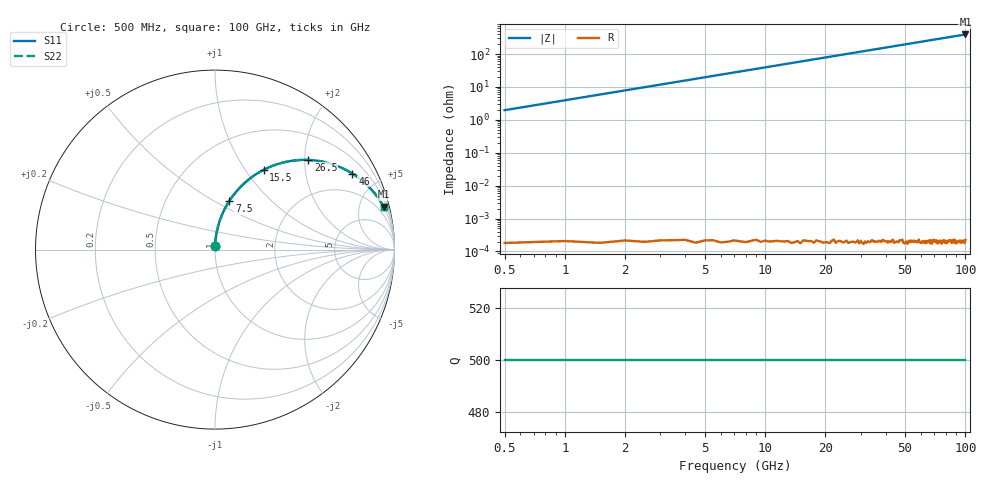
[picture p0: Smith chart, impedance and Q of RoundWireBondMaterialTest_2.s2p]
! File created by SignalIntegrity v1.4.3: Signal and Power Integrity Tools
! https://github.com/Nubis-Communications/SignalIntegrity
! the calculations of this model are from:
! https://www.allaboutcircuits.com/tools/wire-self-inductance-calculator/
# MHz S MA R 50.0
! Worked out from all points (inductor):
!   200 points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, 500 MHz to 100 GHz, reference 50 ohm
!   read as one part in series: L = 626 pH near 1 GHz
!   highest |Z| = 393 ohm at 100 GHz (marker M1)
!   S11 on the Smith chart (normalised r, x): 500 MHz: 1.00, +0.04; 7.5 GHz: 1.00, +0.59; 15.5 GHz: 1.00, +1.22; 26.5 GHz: 1.00, +2.08; 46 GHz: 1.00, +3.62; 100 GHz: 1.00, +7.87
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500  0.01966 88.9  0.9998 -1.1  0.9998 -1.1  0.01966 88.9
1000  0.03931 87.7  0.9992 -2.3  0.9992 -2.3  0.03931 87.7
1500  0.0589 86.6  0.9983 -3.4  0.9983 -3.4  0.0589 86.6
2000  0.07843 85.5  0.9969 -4.5  0.9969 -4.5  0.07843 85.5
2500  0.09787 84.4  0.9952 -5.6  0.9952 -5.6  0.09787 84.4
3500  0.1364 82.2  0.9907 -7.8  0.9907 -7.8  0.1364 82.2
4500  0.1743 80.0  0.9847 -10.0  0.9847 -10.0  0.1743 80.0
6000  0.2297 76.7  0.9733 -13.3  0.9733 -13.3  0.2297 76.7
7500  0.283 73.6  0.9591 -16.4  0.9591 -16.4  0.283 73.6
9000  0.3337 70.5  0.9427 -19.5  0.9427 -19.5  0.3337 70.5
11000  0.3971 66.6  0.9178 -23.4  0.9178 -23.4  0.3971 66.6
15500  0.5206 58.6  0.8538 -31.4  0.8538 -31.4  0.5206 58.6
17500  0.567 55.5  0.8237 -34.5  0.8237 -34.5  0.567 55.5
21500  0.6458 49.8  0.7635 -40.2  0.7635 -40.2  0.6458 49.8
26500  0.7216 43.8  0.6923 -46.2  0.6923 -46.2  0.7216 43.8
34000  0.8009 36.8  0.5988 -53.2  0.5988 -53.2  0.8009 36.8
39500  0.8409 32.8  0.5412 -57.2  0.5412 -57.2  0.8409 32.8
46000  0.8752 28.9  0.4837 -61.1  0.4837 -61.1  0.8752 28.9
50500  0.8932 26.7  0.4496 -63.3  0.4496 -63.3  0.8932 26.7
67000  0.935 20.8  0.3547 -69.2  0.3547 -69.2  0.935 20.8
83500  0.9566 16.9  0.2912 -73.1  0.2912 -73.1  0.9566 16.9
100000  0.9692 14.3  0.2464 -75.7  0.2464 -75.7  0.9692 14.3
